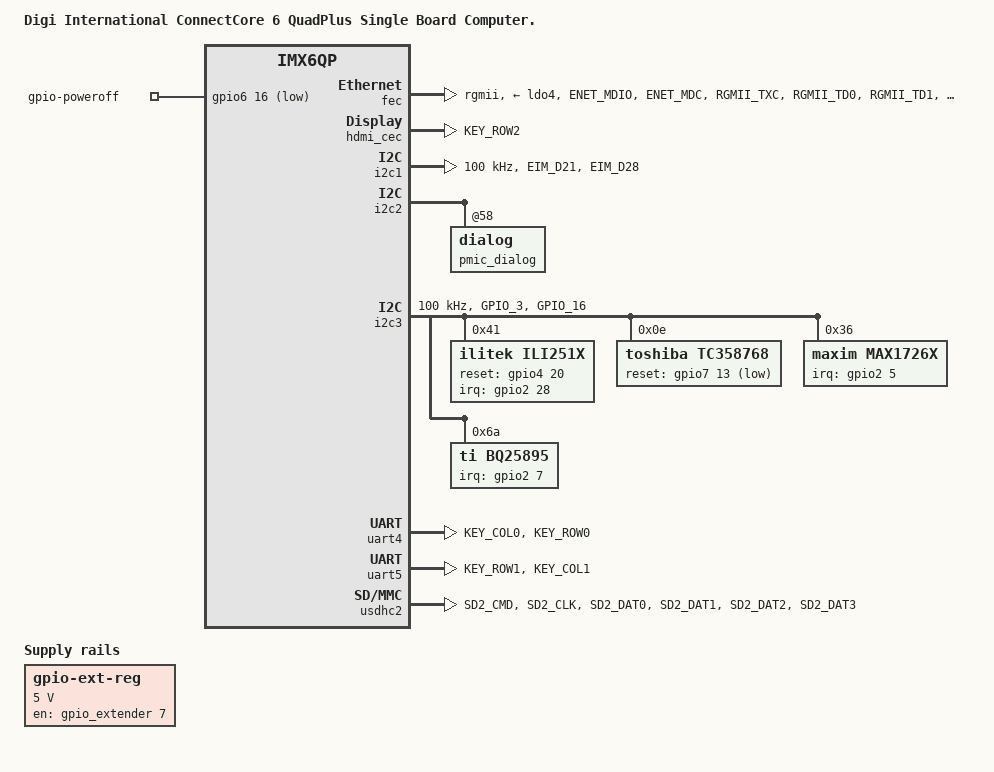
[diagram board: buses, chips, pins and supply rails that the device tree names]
/*
 * Copyright 2017, Digi International Inc.
 * Copyright 2018-2025, Digi International Inc.
 *
 * Permission to use, copy, modify, and/or distribute this software for any
 * purpose with or without fee is hereby granted, provided that the above
 * copyright notice and this permission notice appear in all copies.
 *
 * THE SOFTWARE IS PROVIDED "AS IS" AND THE AUTHOR DISCLAIMS ALL WARRANTIES
 * WITH REGARD TO THIS SOFTWARE INCLUDING ALL IMPLIED WARRANTIES OF
 * MERCHANTABILITY AND FITNESS. IN NO EVENT SHALL THE AUTHOR BE LIABLE FOR
 * ANY SPECIAL, DIRECT, INDIRECT, OR CONSEQUENTIAL DAMAGES OR ANY DAMAGES
 * WHATSOEVER RESULTING FROM LOSS OF USE, DATA OR PROFITS, WHETHER IN AN
 * ACTION OF CONTRACT, NEGLIGENCE OR OTHER TORTIOUS ACTION, ARISING OUT OF
 * OR IN CONNECTION WITH THE USE OR PERFORMANCE OF THIS SOFTWARE.
 */

/ {
	model = "Digi International ConnectCore 6 QuadPlus Single Board Computer.";
	compatible = "digi,ccimx6qpsbc", "digi,ccimx6sbc", "digi,ccimx6qp", "digi,ccimx6", "fsl,imx6qp";
	digi,machine,name = "ccimx6qpsbc";

	aliases {
		mxcfb0 = &mxcfb1;
		mxcfb1 = &mxcfb2;
		i2c3 = &sc18is600;
	};

	5v_reg {
		compatible = "regulator-fixed";
		gpio = <&gpio_extender 7 0>;
		regulator-name = "gpio-ext-reg";
		regulator-always-on;
		enable-active-high;
		regulator-min-microvolt = <5000000>;
		regulator-max-microvolt = <5000000>;
	};

	chosen {
		stdout-path = &uart4;
	};

	mxcfb1: fb@0 {
		compatible = "fsl,mxc_sdc_fb";
		disp_dev = "lcd";
		interface_pix_fmt = "RGB24";
		mode_str ="FORTEC";
		default_bpp = <32>;
		int_clk = <0>;
		late_init = <0>;
		status = "disabled";
	};

	mxcfb2: fb@1 {
		compatible = "fsl,mxc_sdc_fb";
		disp_dev = "hdmi";
		interface_pix_fmt = "RGB24";
		mode_str ="1920x1080M@60";
		default_bpp = <32>;
		int_clk = <0>;
		late_init = <0>;
		status = "disabled";
	};



	/* Parallel display */
	lcd: display@di0 {
		compatible = "fsl,lcd";
		ipu_id = <0>;
		disp_id = <0>;
		default_ifmt = "RGB24";
		pinctrl-names = "default";
		pinctrl-0 = <&pinctrl_ipu1_di0>;
		status = "disabled";
	};

        /* TODO(Ks): remove if pmic pwm is working */
	lcd_backlight: backlight {
		compatible = "pwm-backlight";
		pwms = <&pwm2 0 10000>;
		brightness-levels = <0 4 8 16 32 64 128 255>;
		default-brightness-level = <6>;
		status = "diabled";
	};

	/* SGTL5000 codec is powered by 3V3 BUCK_PERI, but controlled
	 * by GPIO2_25 via a FET transistor
	 */
	codec_power: fixedregulator@0 {
		compatible = "regulator-fixed";
		regulator-name = "aud_pwr_en";
		regulator-min-microvolt = <3300000>;
		regulator-max-microvolt = <3300000>;
		gpio = <&gpio2 25 GPIO_ACTIVE_HIGH>;
		enable-active-high;
		vin-supply = <&bperi>;
		pinctrl-names = "default";
		pinctrl-0 = <&pinctrl_aud_pwr_en>;
		status = "disabled";
		regulator-state-mem {
			regulator-off-in-suspend;
		};
		regulator-state-disk {
			regulator-off-in-suspend;
		};
	};


	sound_sgtl5000: sound-sgtl5000 {
		compatible = "fsl,imx-audio-sgtl5000";
		model = "sgtl5000-audio";
		cpu-dai = <&ssi2>;
		audio-codec = <&sgtl5000>;
		audio-routing =
			"MIC_IN", "Mic Jack",
			"Mic Jack", "Mic Bias",
			"Headphone Jack", "HP_OUT";
		mux-int-port = <2>;
		mux-ext-port = <3>;
		hp-det-debounce = <250>;
		status = "disabled";
	};


	/* for now no sound on the hdmi interface
	sound_hdmi: sound-hdmi {
		compatible = "fsl,imx6q-audio-hdmi",
			     "fsl,imx-audio-hdmi";
		model = "imx-audio-hdmi";
		hdmi-controller = <&hdmi_audio>;
		status = "disabled";
	};
	*/

	v4l2_cap_0: v4l2-cap@0 {
		compatible = "fsl,imx6q-v4l2-capture";
		mclk_source = <0>;
		ipu_id = <0>;
		csi_id = <0>;
		status = "disabled";
	};

	v4l2_cap_1: v4l2-cap@1 {
		compatible = "fsl,imx6q-v4l2-capture";
		mclk_source = <0>;
		ipu_id = <1>;
		csi_id = <1>;
		status = "disabled";
	};

	v4l2_out: v4l2-out {
		compatible = "fsl,mxc_v4l2_output";
		status = "disabled";
	};

 	/* ON_HOLD signal */
	gpio-poweroff {
		compatible = "gpio-poweroff";
		gpios = <&gpio6 16  GPIO_ACTIVE_LOW>;
	};
};

&audmux {
	pinctrl-names = "default";
	pinctrl-0 = <&pinctrl_audmux>;
};

&ecspi1 {
	fsl,spi-num-chipselects = <1>;
	cs-gpios = <&gpio2 30 GPIO_ACTIVE_HIGH>;
	pinctrl-names = "default";
	pinctrl-0 = <&pinctrl_ecspi1>;
	status = "disabled";

        sc18is600: i2c@0 {
                compatible = "nxp,sc18is600";
                spi-max-frequency = <700000>; /* 700KHz */
                spi-cpol;
                spi-cpha;
                reg = <0>;

                interrupt-parent = <&gpio2>;
                interrupts = <23 IRQ_TYPE_EDGE_FALLING>;

                reset-gpios = <&gpio3 22 GPIO_ACTIVE_LOW>;

                clock-frequency = <100000>; /* 100KHz */

                #address-cells = <0x1>;
                #size-cells = <0x0>;
        };
};

&ecspi2 {
	fsl,spi-num-chipselects = <1>;
    cs-gpios = <&gpio5 29 GPIO_ACTIVE_HIGH>; // CSI0_DAT11  4*32 + 29 -> 157
	pinctrl-names = "default";
	pinctrl-0 = <&pinctrl_ecspi2>;
	status = "disabled";
};

/* 10/100/1000 KSZ9031 PHY */
&fec {
	pinctrl-names = "default";
	pinctrl-0 = <&pinctrl_enet>;
	phy-mode = "rgmii";
	phy-reset-gpios = <&gpio1 25 GPIO_ACTIVE_LOW>;
	phy-reset-duration = <10>;
	phy-reset-wait = <1>;
	phy-supply = <&ldo4>;
	fsl,magic-packet;
};

&gpc {
	fsl,cpu_pupscr_sw2iso = <0xf>;
	fsl,cpu_pupscr_sw = <0xf>;
	fsl,cpu_pdnscr_iso2sw = <0x1>;
	fsl,cpu_pdnscr_iso = <0x1>;
	fsl,ldo-bypass = <0>; /* No ldo-bypass */
	fsl,wdog-reset = <1>; /* watchdog select of reset source */
	pu-supply = <&reg_pu>;
};

&hdmi_cec {
	pinctrl-names = "default";
	pinctrl-0 = <&pinctrl_hdmi_cec>;
};

&hdmi_core {
	ipu_id = <1>;
	disp_id = <1>;
};

&hdmi_video {
	fsl,phy_reg_vlev = <0x0294>;
	fsl,phy_reg_cksymtx = <0x800d>;
	digi,dvi_mode;
};


&i2c1 {
	clock-frequency = <100000>;
	pinctrl-names = "default";
	pinctrl-0 = <&pinctrl_i2c1>;
};

&i2c2 {
	pmic_dialog: dialog@58 {
		leds {
			compatible = "dlg,da9063-leds";

			lvds0-backlight@0xc6 {
				dlg,led-gpio-reg = <0x1a 0xf0>;
				dlg,led-reg = <0xc6>;
				/*
				 * If using the latest Video Adapter Board
				 * uncomment to invert the backlight polarity
				 */
				dlg,inverse-polarity;
				linux,default-trigger = "backlight";
			};

			lvds1-backlight@0xc6 {
				dlg,led-gpio-reg = <0x1c 0xf0>;
				dlg,led-reg = <0xc8>;
				/*
				 * If using the latest Video Adapter Board
				 * uncomment to invert the backlight polarity
				 */
				//dlg,inverse-polarity;
				linux,default-trigger = "backlight";
			};
		};
	};
};

&i2c3 {
	clock-frequency = <100000>;
	pinctrl-names = "default";
	pinctrl-0 = <&pinctrl_i2c3>;

	edid@50 {
		compatible = "fsl,imx6-hdmi-i2c";
		reg = <0x50>;
		status = "disabled";
	};

        ili251x: ili251x@41 {
		compatible = "ilitek,ili251x";
		reg = <0x41>;
		interrupt-parent = <&gpio2>;
		interrupts = <28 IRQ_TYPE_EDGE_FALLING>;
		reset-gpios = <&gpio4 20 GPIO_ACTIVE_HIGH>;
	};


	gemmi_cam_bridge_0: gemmi_cam_bridge@04 {
		compatible = "ovti,gemmi_cam_bridge";
		reg = <0x04>;
		pinctrl-names = "default";
		pinctrl-0 = <&pinctrl_ipu1_1>;
		clocks = <&clks 201>;
		clock-names = "csi_mclk";
		csi_id = <0>;
		ipu_id = <0>;
		mclk = <24000000>;
		mclk_source = <0>;
		digi,defer-probe;
		status = "disabled";
	};

	gemmi_cam_bridge_1: gemmi_cam_bridge@06 {
		compatible = "ovti,gemmi_cam_bridge";
		reg = <0x06>;
		pinctrl-names = "default";
		pinctrl-0 = <&pinctrl_ipu2_2>;
		clocks = <&clks 201>;
		clock-names = "csi_mclk";
		csi_id = <1>;
		ipu_id = <1>;
		mclk = <24000000>;
		mclk_source = <0>;
		digi,defer-probe;
		status = "disabled";
	};

        tc358768: tc358768@0e {
		compatible = "toshiba,tc358768";
		reg = <0x0e>;
		data-lines = <24>;
		lanes = <4>;
		reset = <&gpio7 13 1>;
	};


	sgtl5000: codec@0a {
		compatible = "fsl,sgtl5000";
		reg = <0x0a>;
		clock-frequency = <24000000>;
		clocks = <&clks 201>;
		VDDA-supply = <&codec_power>;
		VDDIO-supply = <&codec_power>;
		status = "disabled";
	};

	MAX1726x: MAX1726x@36 {
		status              = "okay";
		reg                 = <0x36>; // MINIQUSB I2C ADDR=1, SIZE=0

		interrupt-parent    = <&gpio2>;
		interrupts 	    = <5 IRQ_TYPE_EDGE_FALLING>;
	};

	bq25895: bq25895@6a {
		compatible = "ti,bq25895";
		reg = <0x6a>;

		ti,battery-regulation-voltage = <4200000>;
		ti,charge-current = <1500000>;
		ti,termination-current = <50000>;
		ti,precharge-current = <128000>;
		ti,minimum-sys-voltage = <3600000>;
		ti,boost-voltage = <5510000>;
		ti,boost-max-current = <2400000>;

		ti,use-ilim-pin;
		ti,thermal-regulation-threshold = <120>;

		interrupt-parent    = <&gpio2>;
		interrupts 	    = <7 IRQ_TYPE_EDGE_FALLING>;
	};
};


&MAX1726x {
    compatible  = "maxim,MAX1726x";

    rsense          = <10>;     /* miliOhm */
    model-option    = <1>;      /* 1: EZ Model, 2: Custom INI without model table
                                    3: Custom INI with custom model table */

    talrt-min   = <0>;          /* DegreeC */
    talrt-max   = <50>;         /* DegreeC */
    valrt-min   = <3000>;       /* mV */
    valrt-max   = <4500>;       /* mV */
    salrt-min   = <1>;          /* Percent */
    salrt-max   = <99>;         /* Percent */
    ialrt-min   = <(-5000)>;    /* mA */
    ialrt-max   = <5000>;       /* mA */


    /*** INI parameters ***/
    /* Option 1/2/3 */
    designcap   = /bits/ 16 <0x0BB8>; /* 1500 mAh */
    ichgterm    = /bits/ 16 <0x0640>;
    vempty      = /bits/ 16 <0xA561>; /* 3300 mV */
    vcharge     = <4300>; /* mV */

    /* Option 2/3 */
    learncfg    = /bits/ 16 <0xC482>;
    rcomp0      = /bits/ 16 <0x0070>;
    tempco      = /bits/ 16 <0x223E>;
    qrtable00   = /bits/ 16 <0x1050>;
    qrtable10   = /bits/ 16 <0x2013>;
    qrtable20   = /bits/ 16 <0x0B04>;
    qrtable30   = /bits/ 16 <0x0885>;

    /* Option 2 */
    dpacc       = /bits/ 16 <0x0C80>;
    modelcfg    = /bits/ 16 <0x8000>;

    /* Option 3 */
    relaxcfg    = /bits/ 16 <0x2039>;
    config      = /bits/ 16 <0x2210>;
    config2     = /bits/ 16 <0x0658>;
    fullsocthr  = /bits/ 16 <0x5F05>;
    tgain       = /bits/ 16 <0xEE56>;
    toff        = /bits/ 16 <0x1DA4>;
    curve       = /bits/ 16 <0x0025>;
    model-data  = /bits/ 16 <
        /* OCV Table */
        0x9760 0xa510 0xb100 0xb600 0xb7a0 0xb900 0xba70 0xbc70
        0xbde0 0xbfc0 0xc250 0xc510 0xc990 0xcea0 0xd040 0xd750
        /* X Table */
        0x0060 0x0120 0x0240 0x0d80 0x08b0 0x0590 0x1200 0x3210
        0x0ee0 0x0a40 0x0950 0x08e0 0x0800 0x0780 0x06b0 0x06b0
        /* RCompSeg Table */
        0x0100 0x0100 0x0100 0x0100 0x0100 0x0100 0x0100 0x0100
        0x0100 0x0100 0x0100 0x0100 0x0100 0x0100 0x0100 0x0100
    >;
};
/* TODO(Ks) remove if pmic pwm is working */
&pwm2 {
	pinctrl-names = "default";
	pinctrl-0 = <&pinctrl_pwm2>;
	status = "disabled";
};

&iomuxc {
	pinctrl-names = "default";
	pinctrl-0 = <&pinctrl_hog>;

	audmux {
		pinctrl_audmux: audmux {
			fsl,pins = <
				MX6QDL_PAD_CSI0_DAT7__AUD3_RXD  0x130b0
				MX6QDL_PAD_CSI0_DAT4__AUD3_TXC  0x130b0
				MX6QDL_PAD_CSI0_DAT5__AUD3_TXD  0x110b0
				MX6QDL_PAD_CSI0_DAT6__AUD3_TXFS 0x130b0
			>;
		};
	};

	aud_pwr_en {
		pinctrl_aud_pwr_en: aud_pwr_en {
			fsl,pins = <

				MX6QDL_PAD_EIM_OE__GPIO2_IO25 0x80000000
			>;
		};
	};

	ecspi1 {
		pinctrl_ecspi1: ecspi1 {
			fsl,pins = <
				MX6QDL_PAD_EIM_D17__ECSPI1_MISO 0x100b1
				MX6QDL_PAD_EIM_D18__ECSPI1_MOSI 0x100b1
				MX6QDL_PAD_EIM_D16__ECSPI1_SCLK 0x100b1
				MX6QDL_PAD_EIM_EB2__GPIO2_IO30  0x100b1
				MX6QDL_PAD_KEY_COL2__GPIO4_IO10 0x100b1
				MX6QDL_PAD_EIM_CS0__GPIO2_IO23  0x100b1
			>;
		};
	};

	ecspi2 {
			pinctrl_ecspi2: ecspi2 {
			fsl,pins = <
				MX6QDL_PAD_CSI0_DAT8__ECSPI2_SCLK   0x100b1
				MX6QDL_PAD_CSI0_DAT9__ECSPI2_MOSI   0x100b1
				MX6QDL_PAD_CSI0_DAT10__ECSPI2_MISO  0x100b1
			>;
		};
	};

	enet {
		pinctrl_enet: enet {
			fsl,pins = <
				MX6QDL_PAD_ENET_MDIO__ENET_MDIO       0x1b0b0
				MX6QDL_PAD_ENET_MDC__ENET_MDC         0x1b0b0
				MX6QDL_PAD_RGMII_TXC__RGMII_TXC       0x1b0b0
				MX6QDL_PAD_RGMII_TD0__RGMII_TD0       0x1b0b0
				MX6QDL_PAD_RGMII_TD1__RGMII_TD1       0x1b0b0
				MX6QDL_PAD_RGMII_TD2__RGMII_TD2       0x1b0b0
				MX6QDL_PAD_RGMII_TD3__RGMII_TD3       0x1b0b0
				MX6QDL_PAD_RGMII_TX_CTL__RGMII_TX_CTL 0x1b0b0
				MX6QDL_PAD_ENET_REF_CLK__ENET_TX_CLK  0x1b0b0
				MX6QDL_PAD_RGMII_RXC__RGMII_RXC       0x1b0b0
				MX6QDL_PAD_RGMII_RD0__RGMII_RD0       0x1b0b0
				MX6QDL_PAD_RGMII_RD1__RGMII_RD1       0x1b0b0
				MX6QDL_PAD_RGMII_RD2__RGMII_RD2       0x1b0b0
				MX6QDL_PAD_RGMII_RD3__RGMII_RD3       0x1b0b0
				MX6QDL_PAD_RGMII_RX_CTL__RGMII_RX_CTL 0x1b0b0
				MX6QDL_PAD_ENET_REF_CLK__ENET_TX_CLK  0x1b0b0
				MX6QDL_PAD_ENET_TX_EN__GPIO1_IO28     0x1b0b0
				MX6QDL_PAD_ENET_CRS_DV__GPIO1_IO25    0x1b0b0
			>;
		};
	};

	hdmi_cec {
		pinctrl_hdmi_cec: hdmicec {
			fsl,pins = <
				MX6QDL_PAD_KEY_ROW2__HDMI_TX_CEC_LINE 0x1f8b0
			>;
		};
	};

	i2c1 {
		pinctrl_i2c1: i2c1 {
			fsl,pins = <
				MX6QDL_PAD_EIM_D21__I2C1_SCL 0x4001b8b1
				MX6QDL_PAD_EIM_D28__I2C1_SDA 0x4001b8b1
			>;
		};
	};

	i2c2 {
		pinctrl_i2c2: i2c2 {
			fsl,pins = <
				MX6QDL_PAD_KEY_COL3__I2C2_SCL 0x4001b8b1
				MX6QDL_PAD_KEY_ROW3__I2C2_SDA 0x4001b8b1
			>;
		};
	};

	i2c3 {
		pinctrl_i2c3: i2c3 {
			fsl,pins = <
				MX6QDL_PAD_GPIO_3__I2C3_SCL 0x4001b8b1
				MX6QDL_PAD_GPIO_16__I2C3_SDA 0x4001b8b1
			>;
		};
	};

	ipu1 {
		pinctrl_ipu1_1: ipu1grp-1 { /* parallel camera */
			fsl,pins = <
				MX6QDL_PAD_CSI0_DAT12__IPU1_CSI0_DATA12    0x80000000
				MX6QDL_PAD_CSI0_DAT13__IPU1_CSI0_DATA13    0x80000000
				MX6QDL_PAD_CSI0_DAT14__IPU1_CSI0_DATA14    0x80000000
				MX6QDL_PAD_CSI0_DAT15__IPU1_CSI0_DATA15    0x80000000
				MX6QDL_PAD_CSI0_DAT16__IPU1_CSI0_DATA16    0x80000000
				MX6QDL_PAD_CSI0_DAT17__IPU1_CSI0_DATA17    0x80000000
				MX6QDL_PAD_CSI0_DAT18__IPU1_CSI0_DATA18    0x80000000
				MX6QDL_PAD_CSI0_DAT19__IPU1_CSI0_DATA19    0x80000000
				MX6QDL_PAD_CSI0_PIXCLK__IPU1_CSI0_PIXCLK   0x0000a0b0
				MX6QDL_PAD_CSI0_MCLK__IPU1_CSI0_HSYNC      0x80000000
				MX6QDL_PAD_CSI0_VSYNC__IPU1_CSI0_VSYNC     0x80000000
				MX6QDL_PAD_EIM_WAIT__GPIO5_IO00            0x80000000
				MX6QDL_PAD_CSI0_DATA_EN__GPIO5_IO20	   0x80000000
			>;
		};

		/* Parallel display */
		pinctrl_ipu1_di0: ipu1grp-2 {
			fsl,pins = <
				/* DISP0_CLK */
				MX6QDL_PAD_DI0_DISP_CLK__IPU1_DI0_DISP_CLK 0xa0
				/* DISP0_DRDY */
				MX6QDL_PAD_DI0_PIN15__IPU1_DI0_PIN15       0xa0
				/* DISP0 VSYNC */
				MX6QDL_PAD_DI0_PIN3__IPU1_DI0_PIN03        0xa0
				/* DISP0 HSYNC */
				MX6QDL_PAD_DI0_PIN2__IPU1_DI0_PIN02        0xa0
				/* Data bus */
				MX6QDL_PAD_DISP0_DAT0__IPU1_DISP0_DATA00   0xa0
				MX6QDL_PAD_DISP0_DAT1__IPU1_DISP0_DATA01   0xa0
				MX6QDL_PAD_DISP0_DAT2__IPU1_DISP0_DATA02   0xa0
				MX6QDL_PAD_DISP0_DAT3__IPU1_DISP0_DATA03   0xa0
				MX6QDL_PAD_DISP0_DAT4__IPU1_DISP0_DATA04   0xa0
				MX6QDL_PAD_DISP0_DAT5__IPU1_DISP0_DATA05   0xa0
				MX6QDL_PAD_DISP0_DAT6__IPU1_DISP0_DATA06   0xa0
				MX6QDL_PAD_DISP0_DAT7__IPU1_DISP0_DATA07   0xa0
				MX6QDL_PAD_DISP0_DAT8__IPU1_DISP0_DATA08   0xa0
				MX6QDL_PAD_DISP0_DAT9__IPU1_DISP0_DATA09   0xa0
				MX6QDL_PAD_DISP0_DAT10__IPU1_DISP0_DATA10  0xa0
				MX6QDL_PAD_DISP0_DAT11__IPU1_DISP0_DATA11  0xa0
				MX6QDL_PAD_DISP0_DAT12__IPU1_DISP0_DATA12  0xa0
				MX6QDL_PAD_DISP0_DAT13__IPU1_DISP0_DATA13  0xa0
				MX6QDL_PAD_DISP0_DAT14__IPU1_DISP0_DATA14  0xa0
				MX6QDL_PAD_DISP0_DAT15__IPU1_DISP0_DATA15  0xa0
				MX6QDL_PAD_DISP0_DAT16__IPU1_DISP0_DATA16  0xa0
				MX6QDL_PAD_DISP0_DAT17__IPU1_DISP0_DATA17  0xa0
				MX6QDL_PAD_DISP0_DAT18__IPU1_DISP0_DATA18  0xa0
				MX6QDL_PAD_DISP0_DAT19__IPU1_DISP0_DATA19  0xa0
				MX6QDL_PAD_DISP0_DAT20__IPU1_DISP0_DATA20  0xa0
				MX6QDL_PAD_DISP0_DAT21__IPU1_DISP0_DATA21  0xa0
				MX6QDL_PAD_DISP0_DAT22__IPU1_DISP0_DATA22  0xa0
				MX6QDL_PAD_DISP0_DAT23__IPU1_DISP0_DATA23  0xa0
			>;
		};
	};

	ipu2 {
		pinctrl_ipu2: ipu2 {
			fsl,pins = <
				/* Display IRQ */
				MX6QDL_PAD_NANDF_D1__GPIO2_IO01            0x80000000
				/* Display contrast */
				MX6QDL_PAD_DI0_PIN4__GPIO4_IO20            0x80000000
				MX6QDL_PAD_DI0_DISP_CLK__IPU2_DI0_DISP_CLK 0x38
				MX6QDL_PAD_DI0_PIN15__IPU2_DI0_PIN15       0x10
				MX6QDL_PAD_DI0_PIN2__IPU2_DI0_PIN02        0x10
				MX6QDL_PAD_DI0_PIN3__IPU2_DI0_PIN03        0x10
				MX6QDL_PAD_DISP0_DAT0__IPU2_DISP0_DATA00   0x10
				MX6QDL_PAD_DISP0_DAT1__IPU2_DISP0_DATA01   0x10
				MX6QDL_PAD_DISP0_DAT2__IPU2_DISP0_DATA02   0x10
				MX6QDL_PAD_DISP0_DAT3__IPU2_DISP0_DATA03   0x10
				MX6QDL_PAD_DISP0_DAT4__IPU2_DISP0_DATA04   0x10
				MX6QDL_PAD_DISP0_DAT5__IPU2_DISP0_DATA05   0x10
				MX6QDL_PAD_DISP0_DAT6__IPU2_DISP0_DATA06   0x10
				MX6QDL_PAD_DISP0_DAT7__IPU2_DISP0_DATA07   0x10
				MX6QDL_PAD_DISP0_DAT8__IPU2_DISP0_DATA08   0x10
				MX6QDL_PAD_DISP0_DAT9__IPU2_DISP0_DATA09   0x10
				MX6QDL_PAD_DISP0_DAT10__IPU2_DISP0_DATA10  0x10
				MX6QDL_PAD_DISP0_DAT11__IPU2_DISP0_DATA11  0x10
				MX6QDL_PAD_DISP0_DAT12__IPU2_DISP0_DATA12  0x10
				MX6QDL_PAD_DISP0_DAT13__IPU2_DISP0_DATA13  0x10
				MX6QDL_PAD_DISP0_DAT14__IPU2_DISP0_DATA14  0x10
				MX6QDL_PAD_DISP0_DAT15__IPU2_DISP0_DATA15  0x10
				MX6QDL_PAD_DISP0_DAT16__IPU2_DISP0_DATA16  0x10
				MX6QDL_PAD_DISP0_DAT17__IPU2_DISP0_DATA17  0x10
				MX6QDL_PAD_DISP0_DAT18__IPU2_DISP0_DATA18  0x10
				MX6QDL_PAD_DISP0_DAT19__IPU2_DISP0_DATA19  0x10
				MX6QDL_PAD_DISP0_DAT20__IPU2_DISP0_DATA20  0x10
				MX6QDL_PAD_DISP0_DAT21__IPU2_DISP0_DATA21  0x10
				MX6QDL_PAD_DISP0_DAT22__IPU2_DISP0_DATA22  0x10
				MX6QDL_PAD_DISP0_DAT23__IPU2_DISP0_DATA23  0x10
			>;
		};

		pinctrl_ipu2_2: ipu2ctrl2 { /* parallel camera */
			fsl,pins = <
				MX6QDL_PAD_EIM_A17__IPU2_CSI1_DATA12    0x80000000
				MX6QDL_PAD_EIM_A18__IPU2_CSI1_DATA13    0x80000000
				MX6QDL_PAD_EIM_A19__IPU2_CSI1_DATA14    0x80000000
				MX6QDL_PAD_EIM_A20__IPU2_CSI1_DATA15    0x80000000
				MX6QDL_PAD_EIM_A21__IPU2_CSI1_DATA16    0x80000000
				MX6QDL_PAD_EIM_A22__IPU2_CSI1_DATA17    0x80000000
				MX6QDL_PAD_EIM_A23__IPU2_CSI1_DATA18    0x80000000
				MX6QDL_PAD_EIM_A24__IPU2_CSI1_DATA19    0x80000000
				MX6QDL_PAD_EIM_A16__IPU2_CSI1_PIXCLK    0x0000a0b0
				MX6QDL_PAD_EIM_EB3__IPU2_CSI1_HSYNC     0x80000000
				MX6QDL_PAD_EIM_D29__IPU2_CSI1_VSYNC     0x80000000
				MX6QDL_PAD_EIM_DA15__GPIO3_IO15         0x80000000
			>;
		};
	};

	/* TODO(Ks) remove if pmic pwm ist working */
	pwm2 {
		pinctrl_pwm2: pwm2grp {
			fsl,pins = <
				MX6QDL_PAD_GPIO_1__PWM2_OUT 0x1b0b1
			>;
		};
	};

	uart4 {
		pinctrl_uart4: uart4 {
			fsl,pins = <
				MX6QDL_PAD_KEY_COL0__UART4_TX_DATA 0x1b0b1
				MX6QDL_PAD_KEY_ROW0__UART4_RX_DATA 0x1b0b1
			>;
		};
	};

	uart5 {
		pinctrl_uart5: uart5 {
			fsl,pins = <
				MX6QDL_PAD_KEY_ROW1__UART5_RX_DATA 0x1b0b1
				MX6QDL_PAD_KEY_COL1__UART5_TX_DATA 0x1b0b1
			>;
		};
	};


	usdhc1 {
		pinctrl_usdhc1: usdhc1 {
			fsl,pins = <
				MX6QDL_PAD_SD1_CMD__SD1_CMD    0x17071
				MX6QDL_PAD_SD1_CLK__SD1_CLK    0x10071
				MX6QDL_PAD_SD1_DAT0__SD1_DATA0 0x17071
				MX6QDL_PAD_SD1_DAT1__SD1_DATA1 0x17071
				MX6QDL_PAD_SD1_DAT2__SD1_DATA2 0x17071
				MX6QDL_PAD_SD1_DAT3__SD1_DATA3 0x17071
			>;
		};

		pinctrl_usdhc1_100mhz: usdhc1-100mhz {
			fsl,pins = <
				MX6QDL_PAD_SD1_CMD__SD1_CMD    0x170B1
				MX6QDL_PAD_SD1_CLK__SD1_CLK    0x100B1
				MX6QDL_PAD_SD1_DAT0__SD1_DATA0 0x170B1
				MX6QDL_PAD_SD1_DAT1__SD1_DATA1 0x170B1
				MX6QDL_PAD_SD1_DAT2__SD1_DATA2 0x170B1
				MX6QDL_PAD_SD1_DAT3__SD1_DATA3 0x170B1
			>;
		};

		pinctrl_usdhc1_200mhz: usdhc1-200mhz {
			fsl,pins = <
				MX6QDL_PAD_SD1_CMD__SD1_CMD    0x170F1
				MX6QDL_PAD_SD1_CLK__SD1_CLK    0x100F1
				MX6QDL_PAD_SD1_DAT0__SD1_DATA0 0x170F1
				MX6QDL_PAD_SD1_DAT1__SD1_DATA1 0x170F1
				MX6QDL_PAD_SD1_DAT2__SD1_DATA2 0x170F1
				MX6QDL_PAD_SD1_DAT3__SD1_DATA3 0x170F1
			>;
		};
	};

	usdhc2 {
		pinctrl_usdhc2: usdhc2 {
			fsl,pins = <
				MX6QDL_PAD_SD2_CMD__SD2_CMD    0x17071
				MX6QDL_PAD_SD2_CLK__SD2_CLK    0x10071
				MX6QDL_PAD_SD2_DAT0__SD2_DATA0 0x17071
				MX6QDL_PAD_SD2_DAT1__SD2_DATA1 0x17071
				MX6QDL_PAD_SD2_DAT2__SD2_DATA2 0x17071
				MX6QDL_PAD_SD2_DAT3__SD2_DATA3 0x17071
			>;
		};

		pinctrl_usdhc2_100mhz: usdhc2-100mhz {
			fsl,pins = <
				MX6QDL_PAD_SD2_CMD__SD2_CMD    0x170B1
				MX6QDL_PAD_SD2_CLK__SD2_CLK    0x100B1
				MX6QDL_PAD_SD2_DAT0__SD2_DATA0 0x170B1
				MX6QDL_PAD_SD2_DAT1__SD2_DATA1 0x170B1
				MX6QDL_PAD_SD2_DAT2__SD2_DATA2 0x170B1
				MX6QDL_PAD_SD2_DAT3__SD2_DATA3 0x170B1
			>;
		};

		pinctrl_usdhc2_200mhz: usdhc2-200mhz {
			fsl,pins = <
				MX6QDL_PAD_SD2_CMD__SD2_CMD    0x170F1
				MX6QDL_PAD_SD2_CLK__SD2_CLK    0x100F1
				MX6QDL_PAD_SD2_DAT0__SD2_DATA0 0x170F1
				MX6QDL_PAD_SD2_DAT1__SD2_DATA1 0x170F1
				MX6QDL_PAD_SD2_DAT2__SD2_DATA2 0x170F1
				MX6QDL_PAD_SD2_DAT3__SD2_DATA3 0x170F1
			>;
		};
	};

	usdhc4 {
		pinctrl_usdhc4: usdhc4 {
			  fsl,pins = <
				  MX6QDL_PAD_SD4_CMD__SD4_CMD    0x17059
				  MX6QDL_PAD_SD4_CLK__SD4_CLK    0x10059
				  MX6QDL_PAD_SD4_DAT0__SD4_DATA0 0x17059
				  MX6QDL_PAD_SD4_DAT1__SD4_DATA1 0x17059
				  MX6QDL_PAD_SD4_DAT2__SD4_DATA2 0x17059
				  MX6QDL_PAD_SD4_DAT3__SD4_DATA3 0x17059
				  MX6QDL_PAD_SD4_DAT4__SD4_DATA4 0x17059
				  MX6QDL_PAD_SD4_DAT5__SD4_DATA5 0x17059
				  MX6QDL_PAD_SD4_DAT6__SD4_DATA6 0x17059
				  MX6QDL_PAD_SD4_DAT7__SD4_DATA7 0x17059
				  >;
		  };

		pinctrl_usdhc4_100mhz: usdhc4-100mhz {
			fsl,pins = <
				MX6QDL_PAD_SD4_CMD__SD4_CMD    0x170B9
				MX6QDL_PAD_SD4_CLK__SD4_CLK    0x100B9
				MX6QDL_PAD_SD4_DAT0__SD4_DATA0 0x170B9
				MX6QDL_PAD_SD4_DAT1__SD4_DATA1 0x170B9
				MX6QDL_PAD_SD4_DAT2__SD4_DATA2 0x170B9
				MX6QDL_PAD_SD4_DAT3__SD4_DATA3 0x170B9
				MX6QDL_PAD_SD4_DAT4__SD4_DATA4 0x170B9
				MX6QDL_PAD_SD4_DAT5__SD4_DATA5 0x170B9
				MX6QDL_PAD_SD4_DAT6__SD4_DATA6 0x170B9
				MX6QDL_PAD_SD4_DAT7__SD4_DATA7 0x170B9
			>;
		};

		pinctrl_usdhc4_200mhz: usdhc4-200mhz {
			fsl,pins = <
				MX6QDL_PAD_SD4_CMD__SD4_CMD    0x170F9
				MX6QDL_PAD_SD4_CLK__SD4_CLK    0x100F9
				MX6QDL_PAD_SD4_DAT0__SD4_DATA0 0x170F9
				MX6QDL_PAD_SD4_DAT1__SD4_DATA1 0x170F9
				MX6QDL_PAD_SD4_DAT2__SD4_DATA2 0x170F9
				MX6QDL_PAD_SD4_DAT3__SD4_DATA3 0x170F9
				MX6QDL_PAD_SD4_DAT4__SD4_DATA4 0x170F9
				MX6QDL_PAD_SD4_DAT5__SD4_DATA5 0x170F9
				MX6QDL_PAD_SD4_DAT6__SD4_DATA6 0x170F9
				MX6QDL_PAD_SD4_DAT7__SD4_DATA7 0x170F9
			>;
		};
	};

	hog {
		pinctrl_hog: hog {
			fsl,pins = <
				/* Charger BOOST_EN */
				MX6QDL_PAD_NANDF_D7__GPIO2_IO07 0x80000000
				/* A_FE_PWR_OFF */
				MX6QDL_PAD_SD3_DAT3__GPIO7_IO07 0x80000000
				/* B_FE_PWR_OFF */
				MX6QDL_PAD_NANDF_D4__GPIO2_IO04  0x80000000
				/* A_INT_FE */
				MX6QDL_PAD_KEY_COL4__GPIO4_IO14  0x80000000
				/* B_INT_FE */
				MX6QDL_PAD_GPIO_5__GPIO1_IO05  0x80000000
				/* nFA/DB */
	 			MX6QDL_PAD_EIM_D20__GPIO3_IO20 0x80000000
				/* T_IRQ_N */
				/* AUD_HP_DET */
				MX6QDL_PAD_NANDF_D0__GPIO2_IO00 0x80000000
				/* USER_LED0 */
				MX6QDL_PAD_NANDF_D2__GPIO2_IO02 0x80000000
				/* USER_LED1 */
				MX6QDL_PAD_NANDF_D3__GPIO2_IO03 0x80000000
				/* CHRG_UOK_N */
				MX6QDL_PAD_NANDF_ALE__GPIO6_IO08 0x80000000
				/* CHRG_FAULT_N */
				MX6QDL_PAD_NANDF_CS2__GPIO6_IO15 0x80000000
				/* CHRG_DOK_N */
				MX6QDL_PAD_NANDF_CS3__GPIO6_IO16 0x80000000
				/* LVDS1_PEN_IRQ_N */
				MX6QDL_PAD_EIM_D23__GPIO3_IO23 0x80000000
				/* LCD IRQ */
				MX6QDL_PAD_NANDF_D1__GPIO2_IO01	0x80000000
				/* AUD_CLK / CSI0_MCLK / CSI1_MCLK */
				MX6QDL_PAD_GPIO_0__CCM_CLKO1    0x130b0
				/* DSI_RESET */
				MX6QDL_PAD_EIM_D26__GPIO3_IO26 0x80000000
				/* BT_DISABLE_N */
				MX6QDL_PAD_GPIO_9__GPIO1_IO09 0x80000000
				/* USB_HUB_RESET_N */
				MX6QDL_PAD_EIM_DA10__GPIO3_IO10 0x80000000
				/* XBEE_ON / SLEEP_N  */
				MX6QDL_PAD_EIM_D27__GPIO3_IO27 0x80000000
				/* XBEE_SLEEP_RQ  */
				MX6QDL_PAD_EIM_D29__GPIO3_IO29 0x80000000
				/* EXP_GPIO_0 */
				MX6QDL_PAD_NANDF_D5__GPIO2_IO05 0x80000000
				/* EXP_GPIO_1 */
				MX6QDL_PAD_NANDF_D6__GPIO2_IO06 0x80000000
				/* EXP_GPIO_2 */
				MX6QDL_PAD_NANDF_D7__GPIO2_IO07 0x80000000
				/* EXP_GPIO_3 */
				MX6QDL_PAD_EIM_CS1__GPIO2_IO24 0x80000000
				/* EXP_GPIO_4 */
				MX6QDL_PAD_EIM_EB0__GPIO2_IO28 0x80000000
				/* EXP_GPIO_5 */
				MX6QDL_PAD_EIM_EB1__GPIO2_IO29 0x80000000
				/* EXP_GPIO_6 */
				MX6QDL_PAD_GPIO_18__GPIO7_IO13 0x80000000
				/* EXP_GPIO_7 */
				MX6QDL_PAD_GPIO_19__GPIO4_IO05 0x80000000
			>;
		};
	};
};


&ssi2 {
	fsl,mode = "i2s-slave";
};

&uart4 {
	pinctrl-names = "default";
	pinctrl-0 = <&pinctrl_uart4>;
};

&uart5 {
	pinctrl-names = "default";
	pinctrl-0 = <&pinctrl_uart5>;
};

&usbh1 {
	fsl,reset-gpio = <&gpio3 10 GPIO_ACTIVE_HIGH>;
};

&usdhc2 {
	pinctrl-names = "default", "state_100mhz", "state_200mhz";
	pinctrl-0 = <&pinctrl_usdhc2>;
	pinctrl-1 = <&pinctrl_usdhc2_100mhz>;
	pinctrl-2 = <&pinctrl_usdhc2_200mhz>;
	broken-cd;
	no-1-8-v;
	keep-power-in-suspend;
	enable-sdio-wakeup;
	vqmmc-supply = <&ldo9>;
};
